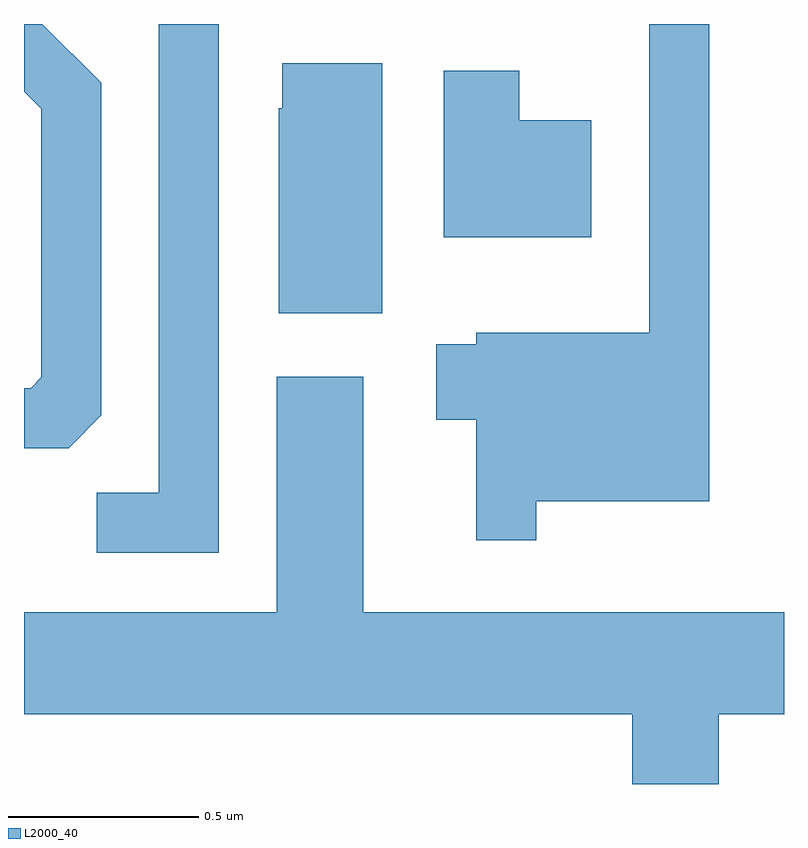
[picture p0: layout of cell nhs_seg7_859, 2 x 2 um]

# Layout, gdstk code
import gdstk
lib = gdstk.Library(unit=1e-6, precision=1e-09)
def P(c, l, *ps):  # polygons
    for p in ps: c.add(gdstk.Polygon(p, *l))
L2000_40 = (2000, 40)

nhs_seg7_859 = lib.new_cell('nhs_seg7_859')
P(nhs_seg7_859, L2000_40, [(192.959,1705.996),(193.414,1705.996),(193.414,1707.252),(193.256,1707.252),(193.256,1706.439),(192.801,1706.439),(192.801,1706.409),(192.696,1706.409),(192.696,1706.211),(192.801,1706.211),(192.801,1705.893),(192.959,1705.893)],
  [(192.124,1707.252),(191.966,1707.252),(191.966,1706.019),(191.803,1706.019),(191.803,1705.861),(192.124,1705.861)],
  [(191.814,1706.222),(191.814,1707.097),(191.659,1707.252),(191.611,1707.252),(191.611,1707.074),(191.656,1707.029),(191.656,1706.322),(191.629,1706.294),(191.611,1706.294),(191.611,1706.136),(191.729,1706.136)],
  [(192.554,1707.149),(192.291,1707.149),(192.291,1707.03),(192.281,1707.03),(192.281,1706.491),(192.554,1706.491)],
  [(193.104,1706.999),(192.914,1706.999),(192.914,1707.129),(192.716,1707.129),(192.716,1706.691),(193.104,1706.691)],
  [(193.439,1705.436),(193.611,1705.436),(193.611,1705.704),(192.504,1705.704),(192.504,1706.324),(192.276,1706.324),(192.276,1705.704),(191.611,1705.704),(191.611,1705.436),(193.211,1705.436),(193.211,1705.252),(193.439,1705.252)])

lib.write_gds('nhs_seg7_859.gds')
